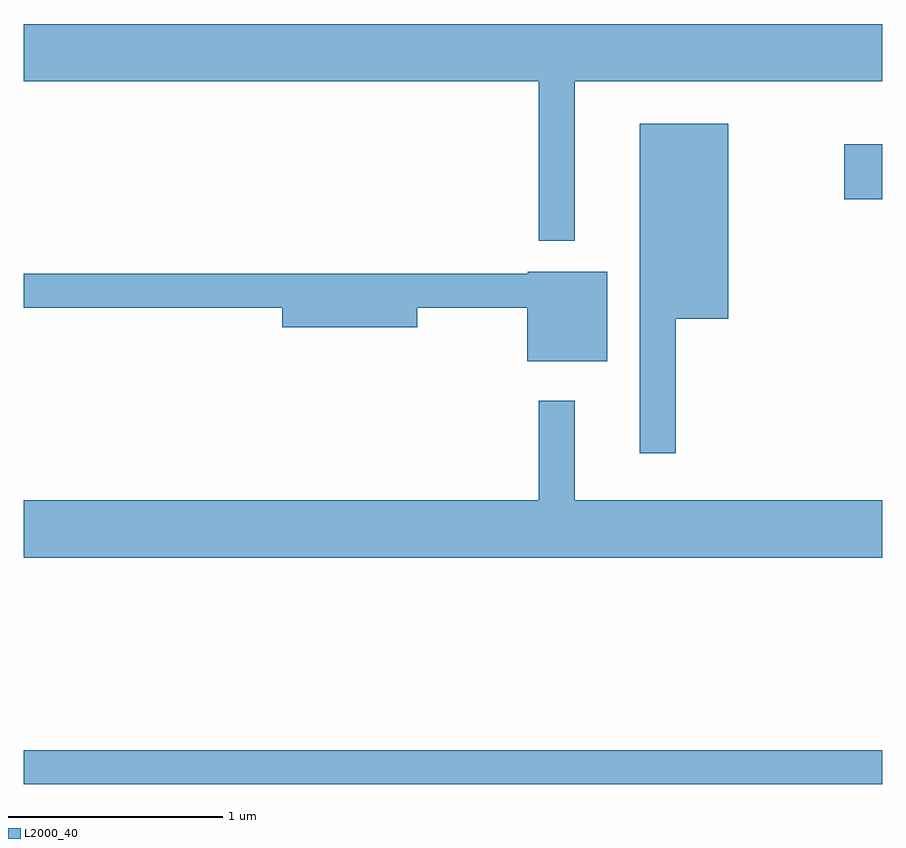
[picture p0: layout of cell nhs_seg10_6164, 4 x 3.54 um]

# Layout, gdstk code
import gdstk
lib = gdstk.Library(unit=1e-6, precision=1e-09)
def R(c, l, rs):  # rectangles x0, y0, x1, y1
    for r in rs: c.add(gdstk.rectangle(r[:2], r[2:], *l))
def P(c, l, *ps):  # polygons
    for p in ps: c.add(gdstk.Polygon(p, *l))
L2000_40 = (2000, 40)

nhs_seg10_6164 = lib.new_cell('nhs_seg10_6164')
R(nhs_seg10_6164, L2000_40, [(367.611,2110.641,371.611,2110.799), (371.436,2113.366,371.611,2113.624)])
P(nhs_seg10_6164, L2000_40, [(370.179,2113.916),(371.611,2113.916),(371.611,2114.184),(367.611,2114.184),(367.611,2113.916),(370.011,2113.916),(370.011,2113.173),(370.179,2113.173)],
  [(370.649,2112.811),(370.894,2112.811),(370.894,2113.719),(370.481,2113.719),(370.481,2112.183),(370.649,2112.183)],
  [(370.329,2113.029),(369.96,2113.029),(369.96,2113.019),(367.611,2113.019),(367.611,2112.861),(368.816,2112.861),(368.816,2112.771),(369.444,2112.771),(369.444,2112.861),(369.956,2112.861),(369.956,2112.611),(370.329,2112.611)],
  [(371.611,2111.964),(370.179,2111.964),(370.179,2112.428),(370.011,2112.428),(370.011,2111.964),(367.611,2111.964),(367.611,2111.696),(371.611,2111.696)])

lib.write_gds('nhs_seg10_6164.gds')
